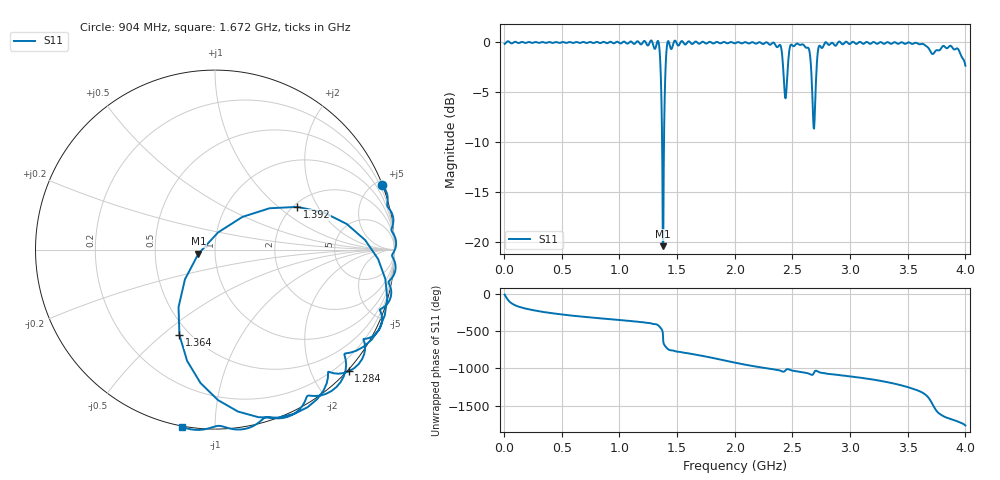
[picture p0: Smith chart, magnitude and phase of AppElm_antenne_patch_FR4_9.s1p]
! TOUCHSTONE file generated by CST MICROWAVE STUDIO
! Date and time: Tue Jun  7 20:03:48 2022
! Project name: AppElm_antenne_patch_FR4.cst
! Parameters = {L=51.75; W=58.5; e=0.035; h=1.6; lambda=0.190476; ls=120; w0=1.6; w1=0.533333; ws=120; y0=20; y1=23.8095}
! Header version: 2018
! Port assignment regex: !\s*Touchstone port\s*([0-9]+)\s*=\s*(CST MWS port|CST DS port)\s*([0-9]+|Zmin|Zmax)\s*\(\"(.*)\"\)(\s*mode\s*([0-9]+))?.*
! Touchstone port assignment:
! Touchstone port 1 = CST MWS port 1 ("")
# GHz S MA R 50
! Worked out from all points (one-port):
!   1000 points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, 4 MHz to 4 GHz, reference 50 ohm
!   lowest |S11| = -20.4 dB at 1.376 GHz (marker M1), VSWR 1.21, Z = 41.5 - j1.94 ohm
!   |S11| at or under -10 dB: 1.37 GHz to 1.386 GHz (16.89 MHz wide, 1.23 % of centre)
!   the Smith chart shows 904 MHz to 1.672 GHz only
!   S11 on the Smith chart (normalised r, x): 904 MHz: 0.04, +5.38; 1.284 GHz: -0.03, -2.59; 1.364 GHz: 0.44, -0.57; 1.392 GHz: 2.10, +1.36; 1.672 GHz: -0.00, -0.83
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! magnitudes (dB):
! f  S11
! 4 MHz  -0.1
! 504 MHz  0.0
! 904 MHz  0.0
! 1.004 GHz  -0.1
! 1.284 GHz  0.1
! 1.34 GHz  0.0
! 1.352 GHz  -1.5
! 1.364 GHz  -5.8
! 1.376 GHz  -20.4
! 1.392 GHz  -5.7
! 1.408 GHz  -0.8
! 1.42 GHz  0.1
! 1.504 GHz  -0.3
! 1.672 GHz  0.0
! 2.004 GHz  -0.1
! 2.384 GHz  -0.3
! 2.44 GHz  -5.6
! 2.48 GHz  -0.4
! 2.504 GHz  -0.3
! 2.636 GHz  -0.5
! 2.684 GHz  -8.6
! 2.696 GHz  -6.5
! 2.724 GHz  -0.6
! 2.74 GHz  -0.4
! 3.004 GHz  -0.1
! 3.504 GHz  0.0
! 3.876 GHz  -0.4
! 4 GHz  -2.3
